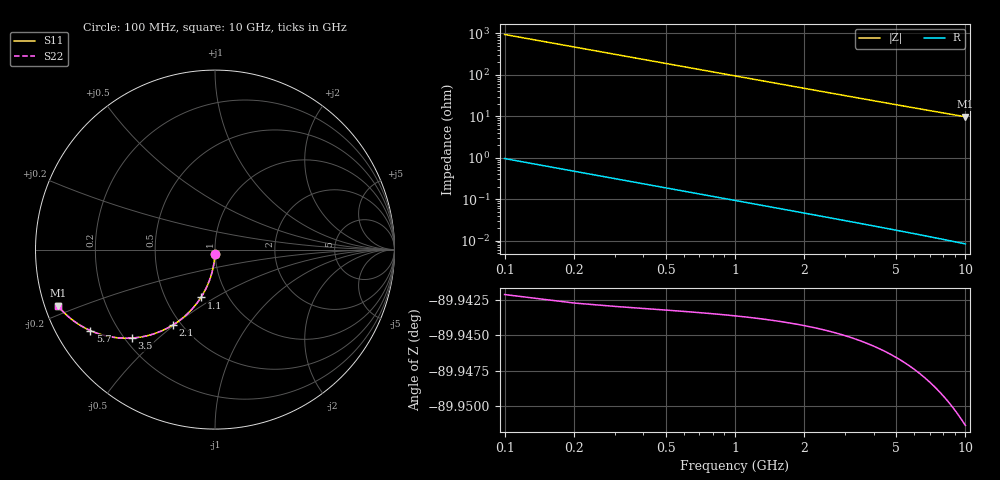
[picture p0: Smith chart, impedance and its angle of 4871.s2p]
# Hz S RI R 50.00
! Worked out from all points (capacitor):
!   100 points, 100 MHz to 10 GHz, reference 50 ohm
!   read as one part in shunt: C = 1.68 pF near 100 MHz
!   lowest |Z| = 9.77 ohm at 10 GHz (marker M1)
!   S11 on the Smith chart (normalised r, x): 100 MHz: 1.00, -0.05; 1.1 GHz: 0.75, -0.43; 2.1 GHz: 0.45, -0.49; 3.5 GHz: 0.23, -0.41; 5.7 GHz: 0.10, -0.29; 10 GHz: 0.04, -0.17
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1e8  -0.00067 -0.0263  0.9992 -0.0266  0.9992 -0.0266  -0.00067 -0.0263
2e8  -0.00279 -0.0524  0.9971 -0.053  0.9971 -0.053  -0.00279 -0.0524
3e8  -0.00628 -0.0784  0.9936 -0.0793  0.9936 -0.0793  -0.00628 -0.0784
4e8  -0.0111 -0.104  0.9888 -0.1052  0.9888 -0.1052  -0.0111 -0.104
5e8  -0.0172 -0.1291  0.9826 -0.1307  0.9826 -0.1307  -0.0172 -0.1291
6e8  -0.0246 -0.1538  0.9752 -0.1556  0.9752 -0.1556  -0.0246 -0.1538
7e8  -0.0332 -0.1778  0.9666 -0.18  0.9666 -0.18  -0.0332 -0.1778
9e8  -0.0537 -0.2237  0.9461 -0.2265  0.9461 -0.2265  -0.0537 -0.2237
1.1e9  -0.0782 -0.2663  0.9217 -0.2697  0.9217 -0.2697  -0.0782 -0.2663
1.4e9  -0.1207 -0.3232  0.8792 -0.3275  0.8792 -0.3275  -0.1207 -0.3232
1.8e9  -0.1849 -0.385  0.815 -0.3905  0.815 -0.3905  -0.1849 -0.385
2.1e9  -0.2359 -0.4208  0.764 -0.4273  0.764 -0.4273  -0.2359 -0.4208
2.7e9  -0.3378 -0.4683  0.662 -0.4767  0.662 -0.4767  -0.3378 -0.4683
3.4e9  -0.4472 -0.4914  0.5526 -0.502  0.5526 -0.502  -0.4472 -0.4914
3.5e9  -0.4616 -0.4926  0.5382 -0.5034  0.5382 -0.5034  -0.4616 -0.4926
4.3e9  -0.5642 -0.4887  0.4356 -0.502  0.4356 -0.502  -0.5642 -0.4887
5.1e9  -0.6457 -0.4698  0.3541 -0.4857  0.3541 -0.4857  -0.6457 -0.4698
5.7e9  -0.6949 -0.451  0.3048 -0.4688  0.3048 -0.4688  -0.6949 -0.451
6.7e9  -0.7592 -0.4164  0.2405 -0.4375  0.2405 -0.4375  -0.7592 -0.4164
7.5e9  -0.7983 -0.3888  0.2013 -0.4125  0.2013 -0.4125  -0.7983 -0.3888
8.4e9  -0.8326 -0.3593  0.1669 -0.3859  0.1669 -0.3859  -0.8326 -0.3593
1e10  -0.8763 -0.3124  0.1231 -0.3444  0.1231 -0.3444  -0.8763 -0.3124
